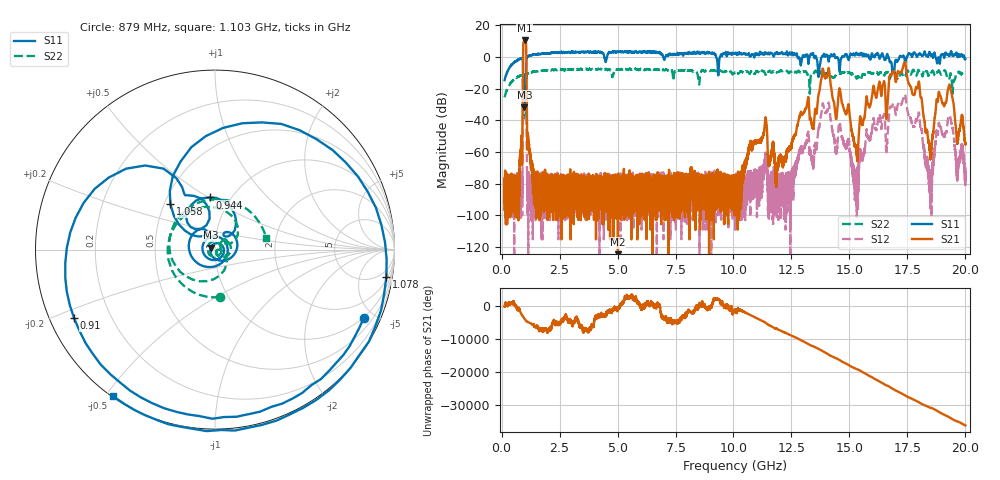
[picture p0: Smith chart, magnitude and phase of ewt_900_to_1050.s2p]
!Created with skrf (http://scikit-rf.org).
# GHz S RI R 50.0
!freq ReS11 ImS11 ReS21 ImS21 ReS12 ImS12 ReS22 ImS22
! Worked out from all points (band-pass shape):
!   20013 points, 130 MHz to 20 GHz, reference 50 ohm
!   highest |S21| = 10.53 dB at 989 MHz (marker M1); lowest = -178.5 dB at 5.017 GHz (marker M2)
!   |S21| within 3 dB of the highest: 930.6 MHz to 1.058 GHz (126.9 MHz wide, 12.8 % of centre)
!   lowest |S11| = -31.7 dB at 983 MHz (marker M3), VSWR 1.05, Z = 47.7 + j1.03 ohm
!   |S11| at or under -10 dB: start of sweep to 223.5 MHz; 929.1 MHz to 1.057 GHz (128.2 MHz wide, 12.9 % of centre); 13.64941 GHz to 13.68113 GHz (31.71 MHz wide, 0.232 % of centre) (the widest 3 of 6)
!   |S22| runs from -38.9 to -7.3 dB; largest |S21 - S12| = 3.3
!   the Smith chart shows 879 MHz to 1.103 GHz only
!   S11 on the Smith chart (normalised r, x): 879 MHz: 0.97, -4.37; 910 MHz: 0.07, -0.23; 944 MHz: 0.80, +0.51; 1.058 GHz: 0.54, +0.31; 1.078 GHz: 3, -12; 1.103 GHz: 0.00, -0.52
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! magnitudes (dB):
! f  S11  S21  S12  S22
! 130 MHz  -14.6  -91.9  -91.9  -25.4
! 672 MHz  -2.3  -80.5  -83.8  -12.8
! 879 MHz  -0.8  -58.4  -86.2  -11.5
! 910 MHz  -1.2  -25.8  -61.2  -12.0
! 944 MHz  -10.7  9.0  -26.8  -21.1
! 983 MHz  -31.7  10.5  -25.0  -31.0
! 989 MHz  -27.3  10.5  -24.9  -31.7
! 1.058 GHz  -9.0  7.3  -27.5  -21.1
! 1.078 GHz  -0.3  -14.8  -49.5  -11.3
! 1.103 GHz  0.0  -49.7  -77.3  -10.6
! 1.448 GHz  1.5  -77.4  -93.1  -9.2
! 3.442 GHz  3.5  -77.4  -92.8  -7.5
! 5.017 GHz  3.2  -178.5  -77.5  -7.6
! 6.754 GHz  2.9  -95.1  -84.9  -7.9
! 10.06 GHz  2.1  -100.0  -85.4  -9.4
! 13.38 GHz  1.6  -42.9  -62.9  -10.0
! 13.89 GHz  1.9  -9.3  -31.2  -10.2
! 16.69 GHz  -0.4  -19.0  -39.8  -11.2
! 17.38 GHz  -1.7  -3.2  -23.6  -12.4
! 18.48 GHz  1.9  -60.9  -84.5  -9.2
! 19.33 GHz  1.5  -18.1  -37.3  -12.0
! 20 GHz  -1.2  -54.6  -79.1  -8.9
